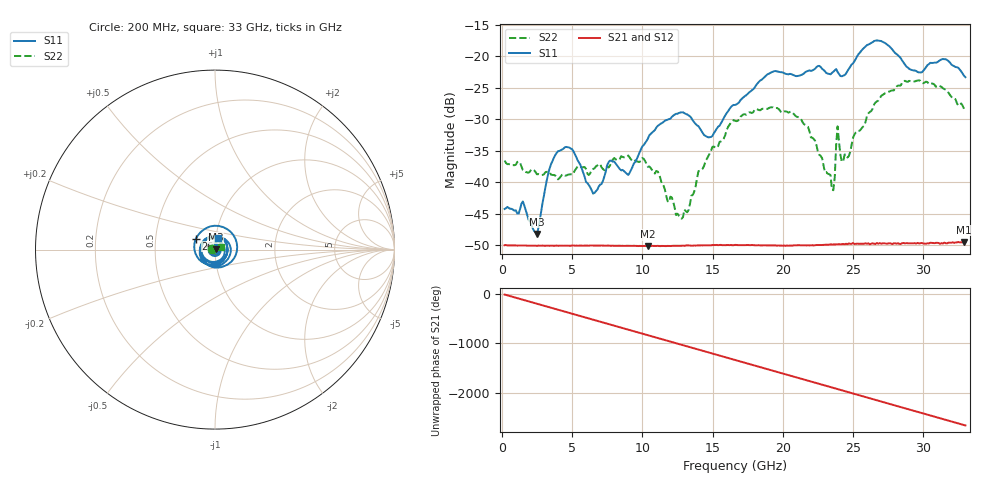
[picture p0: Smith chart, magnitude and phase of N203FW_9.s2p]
# GHZ S RI R 50
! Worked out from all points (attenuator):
!   329 points, 200 MHz to 33 GHz, reference 50 ohm
!   highest |S21| = -49.44 dB at 32.9 GHz (marker M1); lowest = -50.1 dB at 10.4 GHz (marker M2)
!   lowest |S11| = -48.2 dB at 2.5 GHz (marker M3), VSWR 1.01, Z = 50.3 + j0.206 ohm
!   |S11| at or under -10 dB: start of sweep to end of sweep
!   |S22| runs from -45.8 to -23.8 dB; largest |S21 - S12| = 8.8e-05
!   S11 on the Smith chart (normalised r, x): 200 MHz: 1.01, +0.00; 26 GHz: 0.80, +0.10; 33 GHz: 1.02, +0.14
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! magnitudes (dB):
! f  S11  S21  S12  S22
! 200 MHz  -44.2  -50.0  -49.9  -36.5
! 1.5 GHz  -43.0  -50.0  -50.0  -38.1
! 2.5 GHz  -48.2  -50.1  -50.0  -38.7
! 3.9 GHz  -35.3  -50.0  -50.0  -39.1
! 5.7 GHz  -37.9  -50.0  -50.0  -37.6
! 6.5 GHz  -41.8  -50.0  -50.0  -37.9
! 9 GHz  -38.8  -50.1  -50.1  -35.7
! 10.4 GHz  -33.1  -50.1  -50.1  -37.5
! 11.2 GHz  -30.9  -50.1  -50.1  -38.7
! 12.8 GHz  -28.9  -50.0  -50.0  -45.8
! 14.8 GHz  -32.8  -50.0  -50.0  -35.4
! 16.6 GHz  -27.7  -49.9  -49.9  -30.2
! 19.6 GHz  -22.4  -50.0  -50.0  -28.2
! 22.1 GHz  -22.3  -50.0  -50.0  -32.9
! 23.6 GHz  -22.5  -49.8  -49.8  -41.2
! 23.9 GHz  -22.5  -49.8  -49.8  -31.1
! 24.3 GHz  -23.1  -49.8  -49.7  -36.7
! 26 GHz  -18.2  -49.7  -49.7  -29.4
! 27.6 GHz  -18.4  -49.7  -49.7  -25.6
! 30.2 GHz  -21.7  -49.7  -49.7  -24.0
! 32.9 GHz  -23.1  -49.4  -49.4  -28.3
! 33 GHz  -23.3  -49.4  -49.5  -28.7
